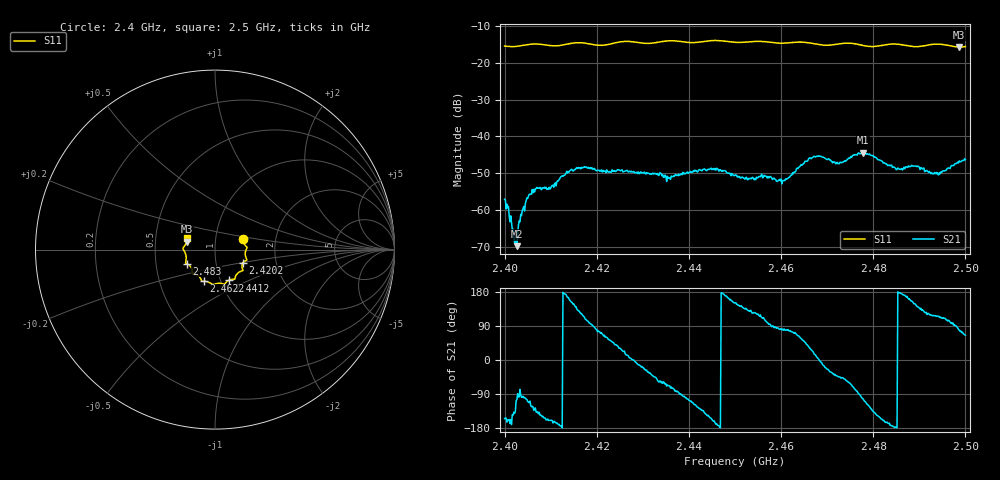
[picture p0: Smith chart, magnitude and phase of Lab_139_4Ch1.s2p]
# Hz S RI R 50
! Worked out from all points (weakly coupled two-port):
!   601 points, 2.4 GHz to 2.5 GHz, reference 50 ohm
!   highest |S21| = -44.43 dB at 2.4778 GHz (marker M1); lowest = -69.8 dB at 2.4027 GHz (marker M2)
!   lowest |S11| = -15.8 dB at 2.4987 GHz (marker M3), VSWR 1.39, Z = 36.3 + j3.29 ohm
!   |S11| at or under -10 dB: start of sweep to end of sweep
!   S12 and S22 are empty: the file has one direction only
!   S11 on the Smith chart (normalised r, x): 2.4 GHz: 1.36, +0.17; 2.4202 GHz: 1.35, -0.20; 2.4412 GHz: 1.09, -0.39; 2.4622 GHz: 0.83, -0.30; 2.483 GHz: 0.72, -0.12; 2.5 GHz: 0.73, +0.09
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2.4e9  0.1573 0.0603  -0.00127 -0.000603  0 0  0 0
2.401e9  0.1586 0.0488  -0.000761 -0.000323  0 0  0 0
2.402167e9  0.162 0.0351  -0.000274 -0.000223  0 0  0 0
2.402667e9  0.1641 0.0304  -8.13e-05 -0.000313  0 0  0 0
2.403667e9  0.1692 0.0223  -0.000123 -0.000829  0 0  0 0
2.405833e9  0.1782 0.0135  -0.000903 -0.00137  0 0  0 0
2.416667e9  0.1771 -0.0587  -0.00205 0.00321  0 0  0 0
2.420167e9  0.1569 -0.0725  0.000924 0.00335  0 0  0 0
2.433333e9  0.1134 -0.1521  0.00164 -0.00249  0 0  0 0
2.435667e9  0.1105 -0.1647  0.00102 -0.00249  0 0  0 0
2.441167e9  0.0757 -0.1718  -0.00163 -0.00308  0 0  0 0
2.45e9  0.0267 -0.1874  -0.00258 0.00143  0 0  0 0
2.460333e9  -0.0461 -0.1782  0.000372 0.00246  0 0  0 0
2.462167e9  -0.0626 -0.1767  0.000774 0.00287  0 0  0 0
2.466667e9  -0.0773 -0.1665  0.00459 0.00221  0 0  0 0
2.472333e9  -0.1163 -0.1365  0.0031 -0.0029  0 0  0 0
2.477833e9  -0.1267 -0.1152  -0.00135 -0.00585  0 0  0 0
2.483e9  -0.1585 -0.0782  -0.00396 -0.00114  0 0  0 0
2.483333e9  -0.1601 -0.0772  -0.00398 -0.000872  0 0  0 0
2.494e9  -0.1791 0.0074  -0.00135 0.0028  0 0  0 0
2.498667e9  -0.1569 0.0441  0.00092 0.00456  0 0  0 0
2.5e9  -0.1539 0.0621  0.00203 0.00441  0 0  0 0
